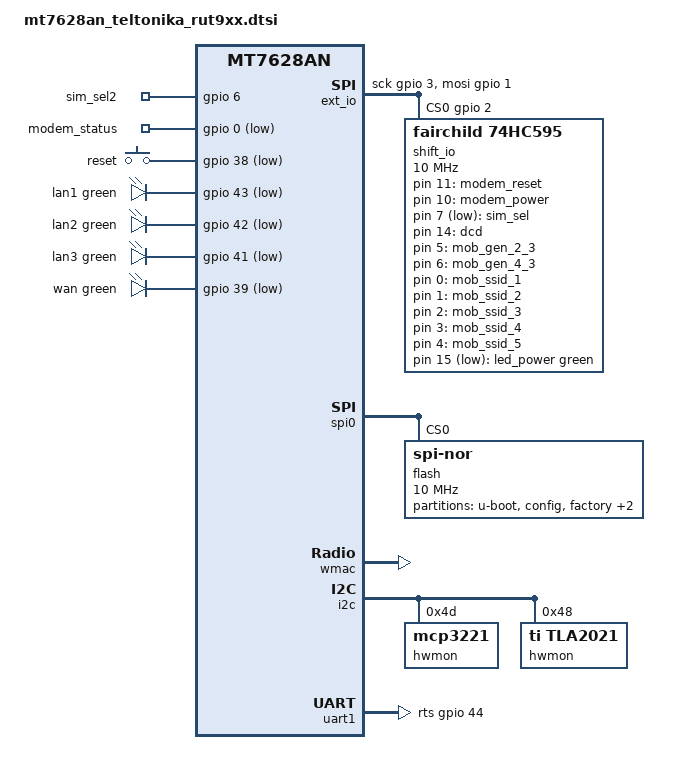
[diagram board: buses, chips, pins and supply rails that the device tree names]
// SPDX-License-Identifier: GPL-2.0-or-later OR MIT
/dts-v1/;

#include <dt-bindings/input/input.h>
#include <dt-bindings/gpio/gpio.h>
#include <dt-bindings/leds/common.h>
#include "mt7628an.dtsi"

/ {
	chosen {
		bootargs = "console=ttyS0,115200";
	};

	aliases {
		led-boot = &led_power;
		led-failsafe = &led_power;
		led-upgrade = &led_power;
		led-running = &led_power;
	};

	ext_io {
		compatible = "spi-gpio";
		#address-cells = <1>;
		#size-cells = <0>;

		sck-gpios = <&gpio 3 GPIO_ACTIVE_HIGH>;  // SRCLK
		mosi-gpios = <&gpio 1 GPIO_ACTIVE_HIGH>; // SER
		cs-gpios = <&gpio 2 GPIO_ACTIVE_HIGH>;  // RCLK
		num-chipselects = <1>;

		shift_io: shift_io@0 {
			compatible = "fairchild,74hc595";
			reg = <0>;
			gpio-controller;
			#gpio-cells = <2>;
			registers-number = <2>;
			spi-max-frequency = <10000000>;
		};
	};

	gpio-export {
		compatible = "gpio-export";
		#size-cells = <0>;

		gpio_modem_reset {
			gpio-export,name = "modem_reset";
			gpio-export,output = <0>;
			gpios = <&shift_io 11 GPIO_ACTIVE_HIGH>;
		};

		gpio_modem_power {
			gpio-export,name = "modem_power";
			gpio-export,output = <0>;
			gpios = <&shift_io 10 GPIO_ACTIVE_HIGH>;
		};

		gpio_sim_select {
			gpio-export,name = "sim_sel";
			gpio-export,output = <1>;
			gpios = <&shift_io 7 GPIO_ACTIVE_LOW>;
		};

		gpio_sim_select_2 {
			gpio-export,name = "sim_sel2";
			gpio-export,output = <0>;
			gpios = <&gpio 6 GPIO_ACTIVE_HIGH>;
		};

		gpio_modem_status { // From v5
			gpio-export,name = "modem_status";
			gpio-export,input = <0>;
			gpios = <&gpio 0 GPIO_ACTIVE_LOW>;
		};

		gpio_dcd {
			gpio-export,name = "dcd";
			gpio-export,output = <0>;
			gpios = <&shift_io 14 GPIO_ACTIVE_HIGH>;
		};
	};

	keys {
		compatible = "gpio-keys";

		reset {
			label = "reset";
			linux,code = <KEY_RESTART>;
			gpios = <&gpio 38 GPIO_ACTIVE_LOW>;
			debounce-interval = <60>;
		};
	};

	leds {
		compatible = "gpio-leds";

		lan1 {
			function = LED_FUNCTION_LAN;
			color = <LED_COLOR_ID_GREEN>;
			function-enumerator = <1>;
			gpios = <&gpio 43 GPIO_ACTIVE_LOW>;
		};

		lan2 {
			function = LED_FUNCTION_LAN;
			color = <LED_COLOR_ID_GREEN>;
			function-enumerator = <2>;
			gpios = <&gpio 42 GPIO_ACTIVE_LOW>;
		};

		lan3 {
			function = LED_FUNCTION_LAN;
			color = <LED_COLOR_ID_GREEN>;
			function-enumerator = <3>;
			gpios = <&gpio 41 GPIO_ACTIVE_LOW>;
		};

		wan {
			function = LED_FUNCTION_WAN;
			color = <LED_COLOR_ID_GREEN>;
			gpios = <&gpio 39 GPIO_ACTIVE_LOW>;
		};

		gen_2_3 {
			label = "mob_gen_2_3";
			gpios = <&shift_io 5 GPIO_ACTIVE_HIGH>;
		};

		gen_4_3 {
			label = "mob_gen_4_3";
			gpios = <&shift_io 6 GPIO_ACTIVE_HIGH>;
		};

		led_ssid_1: ssid_1 {
			label = "mob_ssid_1";
			gpios = <&shift_io 0 GPIO_ACTIVE_HIGH>;
		};

		ssid_2 {
			label = "mob_ssid_2";
			gpios = <&shift_io 1 GPIO_ACTIVE_HIGH>;
		};

		ssid_3 {
			label = "mob_ssid_3";
			gpios = <&shift_io 2 GPIO_ACTIVE_HIGH>;
		};

		ssid_4 {
			label = "mob_ssid_4";
			gpios = <&shift_io 3 GPIO_ACTIVE_HIGH>;
		};

		ssid_5 {
			label = "mob_ssid_5";
			gpios = <&shift_io 4 GPIO_ACTIVE_HIGH>;
		};

		led_power: power {
			gpios = <&shift_io 15 GPIO_ACTIVE_LOW>;
			function = LED_FUNCTION_POWER;
			color = <LED_COLOR_ID_GREEN>;
		};
	};
};

&spi0 {
	status = "okay";

	flash@0 {
		compatible = "jedec,spi-nor";
		reg = <0>;
		spi-max-frequency = <10000000>;

		partitions {
			compatible = "fixed-partitions";
			#address-cells = <1>;
			#size-cells = <1>;

			boot: boot: partition@0 {
				label = "u-boot";
				reg = <0x0 0x20000>;
				read-only;
			};

			config: partition@20000 {
				compatible = "nvmem-cells";
				#address-cells = <1>;
				#size-cells = <1>;

				label = "config";
				reg = <0x020000 0x010000>;
				read-only;

				macaddr_config_0: macaddr@0 {
					reg = <0x0 0x6>;
				};
			};

			factory: partition@30000 {
				label = "factory";
				reg = <0x030000 0x030000>;
				read-only;
			};

			partition@60000 {
				compatible = "denx,uimage";
				label = "firmware";
				reg = <0x060000 0xf10000>;
			};

			partition@f70000 {
				label = "event-log";
				reg = <0xf70000 0x90000>;
			};
		};
	};
};

&wmac {
	status = "okay";
	nvmem-cells = <&macaddr_config_0>;
	nvmem-cell-names = "mac-address";
	mac-address-increment = <2>;
	mediatek,mtd-eeprom = <&factory 0x20000>;
};

&ethernet {
	nvmem-cells = <&macaddr_config_0>;
	nvmem-cell-names = "mac-address";
};

&esw {
	mediatek,portmap = <0x2f>;
};

&i2c {
	status = "okay";
	hwmon@0x4d {
		compatible = "mcp3221";
		reg = <0x4d>;
		reference-voltage-microvolt = <3300000>;
	};

	hwmon@0x48 {
		compatible = "ti,tla2021";
		reg = <0x48>;
	};
};

&uart1 {
	linux,rs485-enabled-at-boot-time;
	rs485-rts-delay = <0 0>;
	rs485-rx-during-tx;
	rts-gpios = <&gpio 44 GPIO_ACTIVE_HIGH>;
	status = "okay";
};
